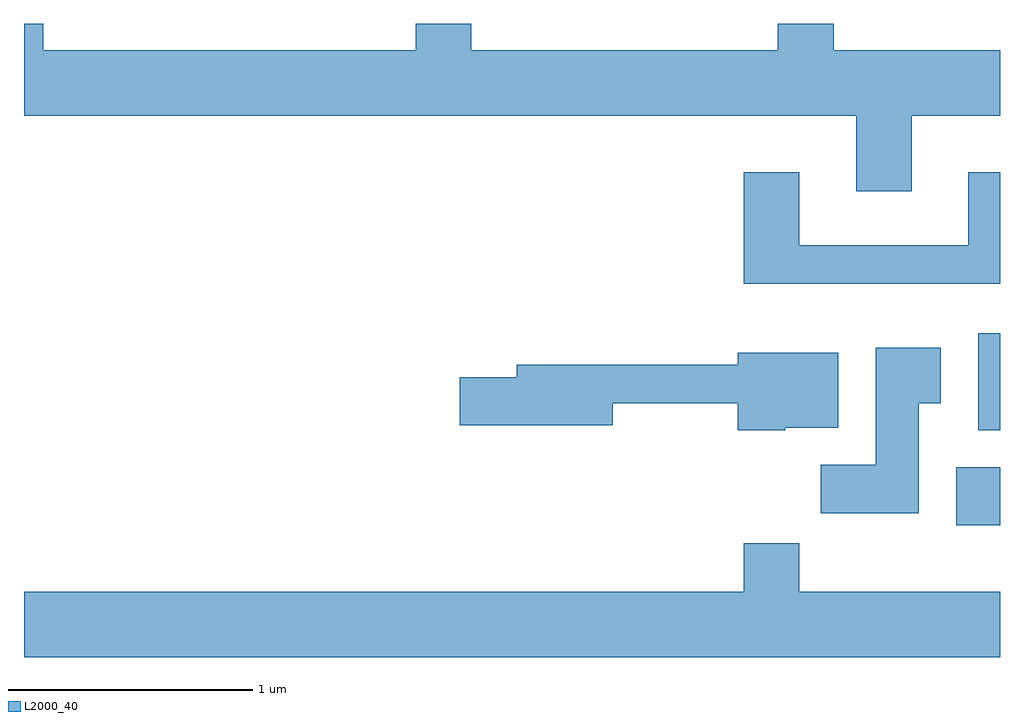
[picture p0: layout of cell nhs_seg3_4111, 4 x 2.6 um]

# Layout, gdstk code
import gdstk
lib = gdstk.Library(unit=1e-6, precision=1e-09)
def R(c, l, rs):  # rectangles x0, y0, x1, y1
    for r in rs: c.add(gdstk.rectangle(r[:2], r[2:], *l))
def P(c, l, *ps):  # polygons
    for p in ps: c.add(gdstk.Polygon(p, *l))
L2000_40 = (2000, 40)

nhs_seg3_4111 = lib.new_cell('nhs_seg3_4111')
R(nhs_seg3_4111, L2000_40, [(309.431,1179.836,309.611,1180.074), (309.521,1180.226,309.611,1180.624)])
P(nhs_seg3_4111, L2000_40, [(309.249,1181.516),(309.611,1181.516),(309.611,1181.784),(308.929,1181.784),(308.929,1181.892),(308.701,1181.892),(308.701,1181.784),(307.444,1181.784),(307.444,1181.892),(307.216,1181.892),(307.216,1181.784),(305.689,1181.784),(305.689,1181.892),(305.611,1181.892),(305.611,1181.516),(309.021,1181.516),(309.021,1181.206),(309.249,1181.206)],
  [(309.611,1181.284),(309.481,1181.284),(309.481,1180.984),(308.789,1180.984),(308.789,1181.284),(308.561,1181.284),(308.561,1180.826),(309.611,1180.826)],
  [(309.279,1180.336),(309.369,1180.336),(309.369,1180.564),(309.101,1180.564),(309.101,1180.084),(308.876,1180.084),(308.876,1179.886),(309.279,1179.886)],
  [(308.73,1180.236),(308.949,1180.236),(308.949,1180.544),(308.536,1180.544),(308.536,1180.494),(307.631,1180.494),(307.631,1180.444),(307.396,1180.444),(307.396,1180.246),(308.024,1180.246),(308.024,1180.336),(308.536,1180.336),(308.536,1180.226),(308.73,1180.226)],
  [(309.611,1179.564),(308.789,1179.564),(308.789,1179.764),(308.561,1179.764),(308.561,1179.564),(305.611,1179.564),(305.611,1179.296),(309.611,1179.296)])

lib.write_gds('nhs_seg3_4111.gds')
